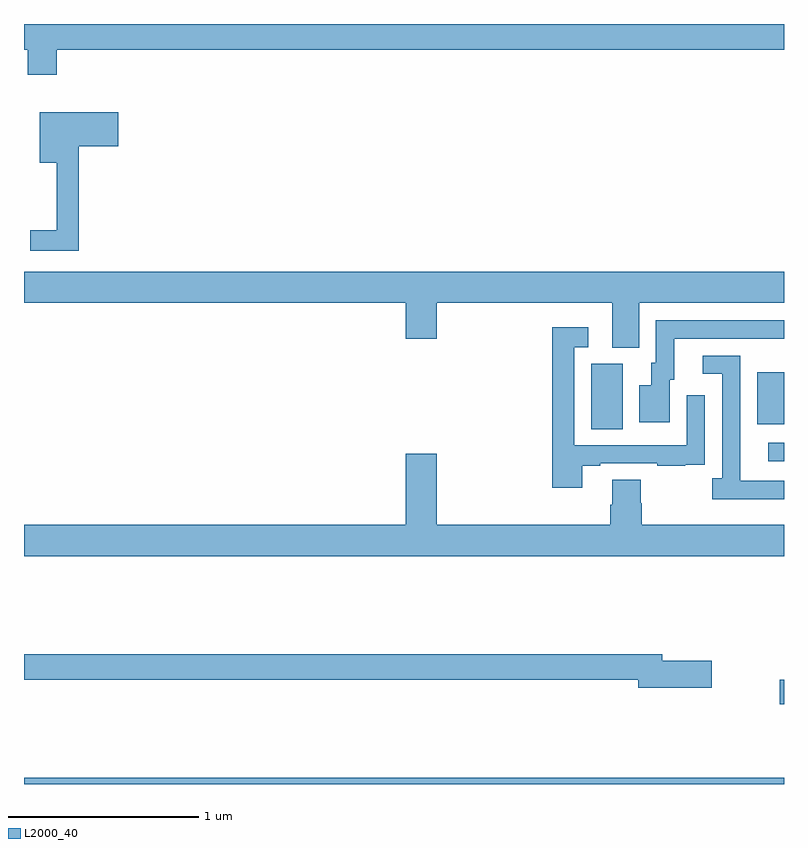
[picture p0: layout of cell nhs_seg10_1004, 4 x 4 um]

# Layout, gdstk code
import gdstk
lib = gdstk.Library(unit=1e-6, precision=1e-09)
def R(c, l, rs):  # rectangles x0, y0, x1, y1
    for r in rs: c.add(gdstk.rectangle(r[:2], r[2:], *l))
def P(c, l, *ps):  # polygons
    for p in ps: c.add(gdstk.Polygon(p, *l))
L2000_40 = (2000, 40)

nhs_seg10_1004 = lib.new_cell('nhs_seg10_1004')
R(nhs_seg10_1004, L2000_40, [(163,1248.5,167,1248.532), (166.977,1248.919,167,1249.048), (166.917,1250.199,167,1250.295), (165.986,1250.368,166.15,1250.712), (166.859,1250.393,167,1250.668)])
P(nhs_seg10_1004, L2000_40, [(163.172,1252.364),(167,1252.364),(167,1252.5),(163,1252.5),(163,1252.364),(163.02,1252.364),(163.02,1252.233),(163.172,1252.233)],
  [(163.289,1251.857),(163.495,1251.857),(163.495,1252.035),(163.082,1252.035),(163.082,1251.77),(163.172,1251.77),(163.172,1251.415),(163.032,1251.415),(163.032,1251.306),(163.289,1251.306)],
  [(166.237,1251.032),(167,1251.032),(167,1251.196),(163,1251.196),(163,1251.032),(165.008,1251.032),(165.008,1250.844),(165.172,1250.844),(165.172,1251.032),(166.097,1251.032),(166.097,1250.797),(166.237,1250.797)],
  [(166.399,1250.628),(166.423,1250.628),(166.423,1250.844),(167,1250.844),(167,1250.94),(166.326,1250.94),(166.326,1250.718),(166.301,1250.718),(166.301,1250.599),(166.238,1250.599),(166.238,1250.403),(166.399,1250.403)],
  [(165.937,1250.175),(166.033,1250.175),(166.033,1250.187),(166.333,1250.187),(166.333,1250.175),(166.481,1250.175),(166.481,1250.181),(166.583,1250.181),(166.583,1250.29),(166.584,1250.29),(166.584,1250.545),(166.488,1250.545),(166.488,1250.283),(165.897,1250.283),(165.897,1250.799),(165.97,1250.799),(165.97,1250.905),(165.781,1250.905),(165.781,1250.058),(165.937,1250.058)],
  [(167,1250.097),(166.771,1250.097),(166.771,1250.297),(166.77,1250.297),(166.77,1250.754),(166.572,1250.754),(166.572,1250.658),(166.674,1250.658),(166.674,1250.11),(166.623,1250.11),(166.623,1250),(167,1250)],
  [(167,1249.864),(166.25,1249.864),(166.25,1249.977),(166.245,1249.977),(166.245,1250.102),(166.097,1250.102),(166.097,1249.97),(166.085,1249.97),(166.085,1249.864),(165.172,1249.864),(165.172,1250.239),(165.008,1250.239),(165.008,1249.864),(163,1249.864),(163,1249.7),(167,1249.7)],
  [(166.621,1249.148),(166.36,1249.148),(166.36,1249.184),(163,1249.184),(163,1249.048),(166.232,1249.048),(166.232,1249.006),(166.621,1249.006)])

lib.write_gds('nhs_seg10_1004.gds')
